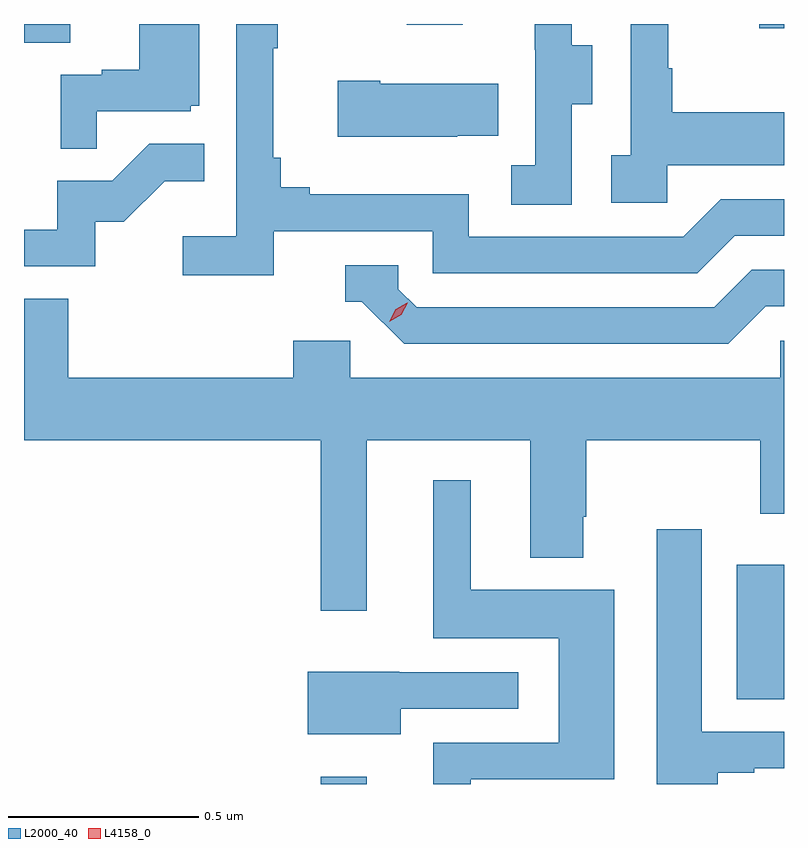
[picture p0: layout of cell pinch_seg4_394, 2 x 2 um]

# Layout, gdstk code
import gdstk
lib = gdstk.Library(unit=1e-6, precision=1e-09)
def R(c, l, rs):  # rectangles x0, y0, x1, y1
    for r in rs: c.add(gdstk.rectangle(r[:2], r[2:], *l))
def P(c, l, *ps):  # polygons
    for p in ps: c.add(gdstk.Polygon(p, *l))
L2000_40 = (2000, 40)
L4158_0 = (4158, 0)

pinch_seg4_394 = lib.new_cell('pinch_seg4_394')
R(pinch_seg4_394, L2000_40, [(989.22,782.595,989.341,782.614), (990.314,782.818,990.439,783.172), (988.439,784.546,988.561,784.595), (990.374,784.584,990.439,784.595), (989.446,784.593,989.593,784.595)])
P(pinch_seg4_394, L2000_40, [(989.88,784.384),(989.935,784.384),(989.935,784.539),(989.881,784.539),(989.881,784.595),(989.783,784.595),(989.783,784.527),(989.784,784.527),(989.784,784.223),(989.721,784.223),(989.721,784.12),(989.88,784.12)],
  [(990.132,784.223),(990.439,784.223),(990.439,784.363),(990.145,784.363),(990.145,784.478),(990.135,784.478),(990.135,784.595),(990.036,784.595),(990.036,784.25),(989.985,784.25),(989.985,784.125),(990.132,784.125)],
  [(989.096,784.05),(989.514,784.05),(989.514,783.939),(990.211,783.939),(990.31,784.038),(990.439,784.038),(990.439,784.134),(990.273,784.134),(990.174,784.035),(989.61,784.035),(989.61,784.147),(989.191,784.147),(989.191,784.166),(989.114,784.166),(989.114,784.243),(989.095,784.243),(989.095,784.531),(989.107,784.531),(989.107,784.595),(988.998,784.595),(988.998,784.036),(988.857,784.036),(988.857,783.934),(989.096,783.934)],
  [(988.631,784.365),(988.878,784.365),(988.878,784.38),(988.9,784.38),(988.9,784.595),(988.742,784.595),(988.742,784.474),(988.643,784.474),(988.643,784.461),(988.536,784.461),(988.536,784.267),(988.631,784.267)],
  [(989.579,784.301),(989.687,784.301),(989.687,784.438),(989.377,784.438),(989.377,784.446),(989.265,784.446),(989.265,784.298),(989.579,784.298)],
  [(988.626,784.074),(988.702,784.074),(988.809,784.181),(988.913,784.181),(988.913,784.28),(988.769,784.28),(988.671,784.182),(988.527,784.182),(988.527,784.053),(988.439,784.053),(988.439,783.957),(988.626,783.957)],
  [(990.391,783.852),(990.439,783.852),(990.439,783.948),(990.354,783.948),(990.255,783.849),(989.472,783.849),(989.424,783.897),(989.424,783.96),(989.285,783.96),(989.285,783.864),(989.328,783.864),(989.439,783.753),(990.292,783.753)],
  [(989.341,783.5),(989.771,783.5),(989.771,783.191),(989.911,783.191),(989.911,783.298),(989.919,783.298),(989.919,783.5),(990.376,783.5),(990.376,783.306),(990.439,783.306),(990.439,783.762),(990.429,783.762),(990.429,783.664),(989.298,783.664),(989.298,783.762),(989.147,783.762),(989.147,783.664),(988.556,783.664),(988.556,783.872),(988.439,783.872),(988.439,783.5),(989.22,783.5),(989.22,783.051),(989.341,783.051)],
  [(989.614,782.607),(989.992,782.607),(989.992,783.106),(989.614,783.106),(989.614,783.394),(989.516,783.394),(989.516,782.978),(989.846,782.978),(989.846,782.703),(989.516,782.703),(989.516,782.595),(989.614,782.595)],
  [(990.265,782.625),(990.361,782.625),(990.361,782.637),(990.439,782.637),(990.439,782.733),(990.223,782.733),(990.223,783.265),(990.104,783.265),(990.104,782.595),(990.265,782.595)],
  [(989.431,782.793),(989.74,782.793),(989.74,782.889),(989.427,782.889),(989.427,782.89),(989.186,782.89),(989.186,782.726),(989.431,782.726)])
P(pinch_seg4_394, L4158_0, [(989.4,783.811),(989.4,783.812),(989.417,783.844),(989.448,783.862),(989.449,783.862),(989.449,783.862),(989.432,783.83),(989.4,783.811)])

lib.write_gds('pinch_seg4_394.gds')
